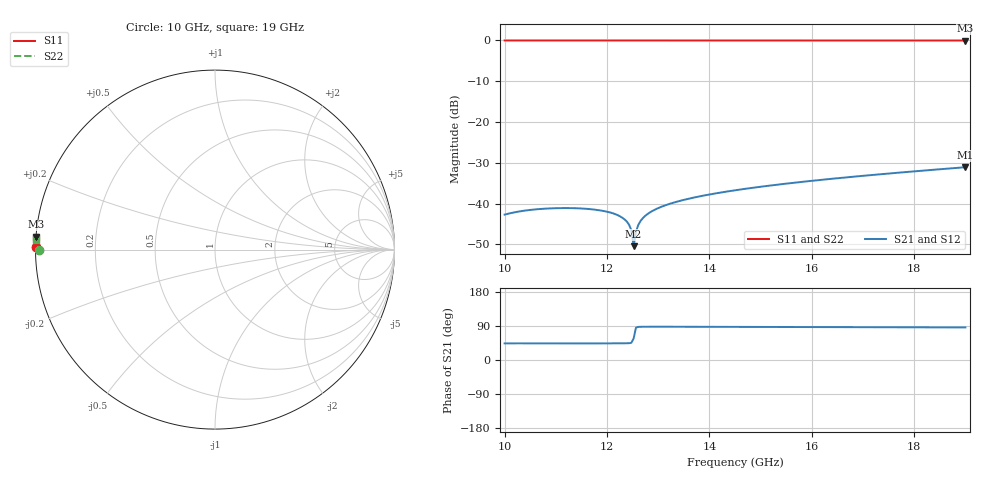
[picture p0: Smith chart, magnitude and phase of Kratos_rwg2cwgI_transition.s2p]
! Variables:
!  a = 0.276in
!  d = 2.99in
!  iris_radius = 0.0705in
!  iris_width = 0.04in
!  rwg_a = 0.622in
!  rwg_b = 0.311in
!  rwg_length = 0.3in
!Data is not renormalized
# GHz S RI
! Terminal data exported
! Port[1] = Port1_rwg
! Port[2] = Port2_cwgI
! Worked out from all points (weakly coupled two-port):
!   201 points, 10 GHz to 19 GHz, reference per port
!   highest |S21| = -31.10 dB at 19 GHz (marker M1); lowest = -50.5 dB at 12.52 GHz (marker M2)
!   lowest |S11| = 0.0 dB at 19 GHz (marker M3), VSWR 966.23
!   |S11| at or under -10 dB: nowhere
!   |S22| runs from -0.2 to 0.0 dB; largest |S21 - S12| = 1e-12
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10  -0.9994 0.0126  0.00527 0.00507  0.00527 0.00507  -0.979 -0.000999
10.315  -0.9993 0.0161  0.00579 0.00558  0.00579 0.00558  -0.9799 -0.00107
10.675  -0.9991 0.0195  0.00617 0.00591  0.00617 0.00591  -0.9808 -0.000817
11.125  -0.9989 0.0232  0.00635 0.00608  0.00635 0.00608  -0.9827 -0.000721
11.53  -0.9988 0.0263  0.00627 0.00599  0.00627 0.00599  -0.9849 -0.000424
12.025  -0.9986 0.0297  0.00568 0.00545  0.00568 0.00545  -0.9894 0.000461
12.205  -0.9985 0.0309  0.00521 0.00499  0.00521 0.00499  -0.9906 1.15e-05
12.34  -0.9985 0.0318  0.0046 0.00446  0.0046 0.00446  -0.994 0.00153
12.43  -0.9985 0.0324  0.00394 0.00385  0.00394 0.00385  -0.9919 0.00079
12.475  -0.9984 0.0327  0.00331 0.00335  0.00331 0.00335  -0.9964 8.49e-05
12.52  -0.9984 0.033  0.00165 0.0025  0.00165 0.0025  -0.9987 0.000591
12.565  -0.9984 0.0333  0.000364 0.00448  0.000364 0.00448  -0.9929 -0.00301
12.61  -0.9984 0.0336  0.000253 0.00544  0.000253 0.00544  -1.003 0.00141
12.655  -0.9984 0.0338  0.00025 0.00611  0.00025 0.00611  -1.002 0.00634
12.79  -0.9983 0.0347  0.000283 0.00741  0.000283 0.00741  -0.9995 0.00847
13.015  -0.9982 0.0361  0.000333 0.00886  0.000333 0.00886  -0.9994 0.0116
13.285  -0.9981 0.0378  0.000393 0.0102  0.000393 0.0102  -0.9993 0.0147
13.6  -0.998 0.0397  0.000463 0.0115  0.000463 0.0115  -0.9991 0.0177
14.5  -0.9976 0.045  0.000663 0.0145  0.000663 0.0145  -0.9987 0.0249
16.03  -0.9969 0.0538  0.00104 0.019  0.00104 0.019  -0.9981 0.0351
17.515  -0.9962 0.0624  0.00146 0.0233  0.00146 0.0233  -0.9975 0.044
19  -0.9954 0.0712  0.00198 0.0278  0.00198 0.0278  -0.9968 0.0526
